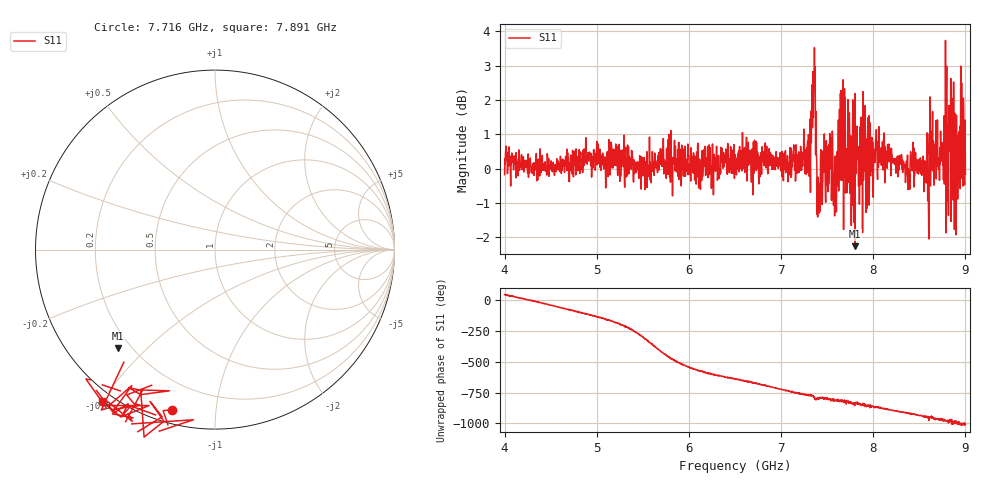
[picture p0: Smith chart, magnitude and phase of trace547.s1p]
! Created with skrf 1.8.0 (http://scikit-rf.org).
# Hz S RI R 50.0
!freq ReS11 ImS11
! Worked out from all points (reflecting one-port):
!   1601 points, 4 GHz to 9 GHz, reference 50 ohm
!   lowest |S11| = -2.3 dB at 7.8 GHz (marker M1), VSWR 7.74, Z = 7.56 - j20.4 ohm
!   phase of S11 starts at 44 deg and turns -1050 deg over the sweep
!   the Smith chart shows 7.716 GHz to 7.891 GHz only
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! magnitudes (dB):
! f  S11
! 4 GHz  -0.2
! 4.625 GHz  0.0
! 5.25 GHz  -0.4
! 5.875 GHz  -0.1
! 6.5 GHz  0.4
! 7.125 GHz  0.3
! 7.294 GHz  0.1
! 7.347 GHz  2.8
! 7.362 GHz  3.5
! 7.4 GHz  -0.2
! 7.412 GHz  -0.7
! 7.453 GHz  -0.4
! 7.538 GHz  0.9
! 7.591 GHz  -0.2
! 7.647 GHz  1.5
! 7.75 GHz  -0.7
! 7.775 GHz  0.7
! 7.8 GHz  -2.3
! 8.097 GHz  0.2
! 8.375 GHz  -0.1
! 8.447 GHz  -0.2
! 8.581 GHz  0.4
! 8.631 GHz  1.1
! 8.738 GHz  0.5
! 8.819 GHz  1.0
! 8.906 GHz  0.7
! 8.959 GHz  2.5
! 9 GHz  -0.2
